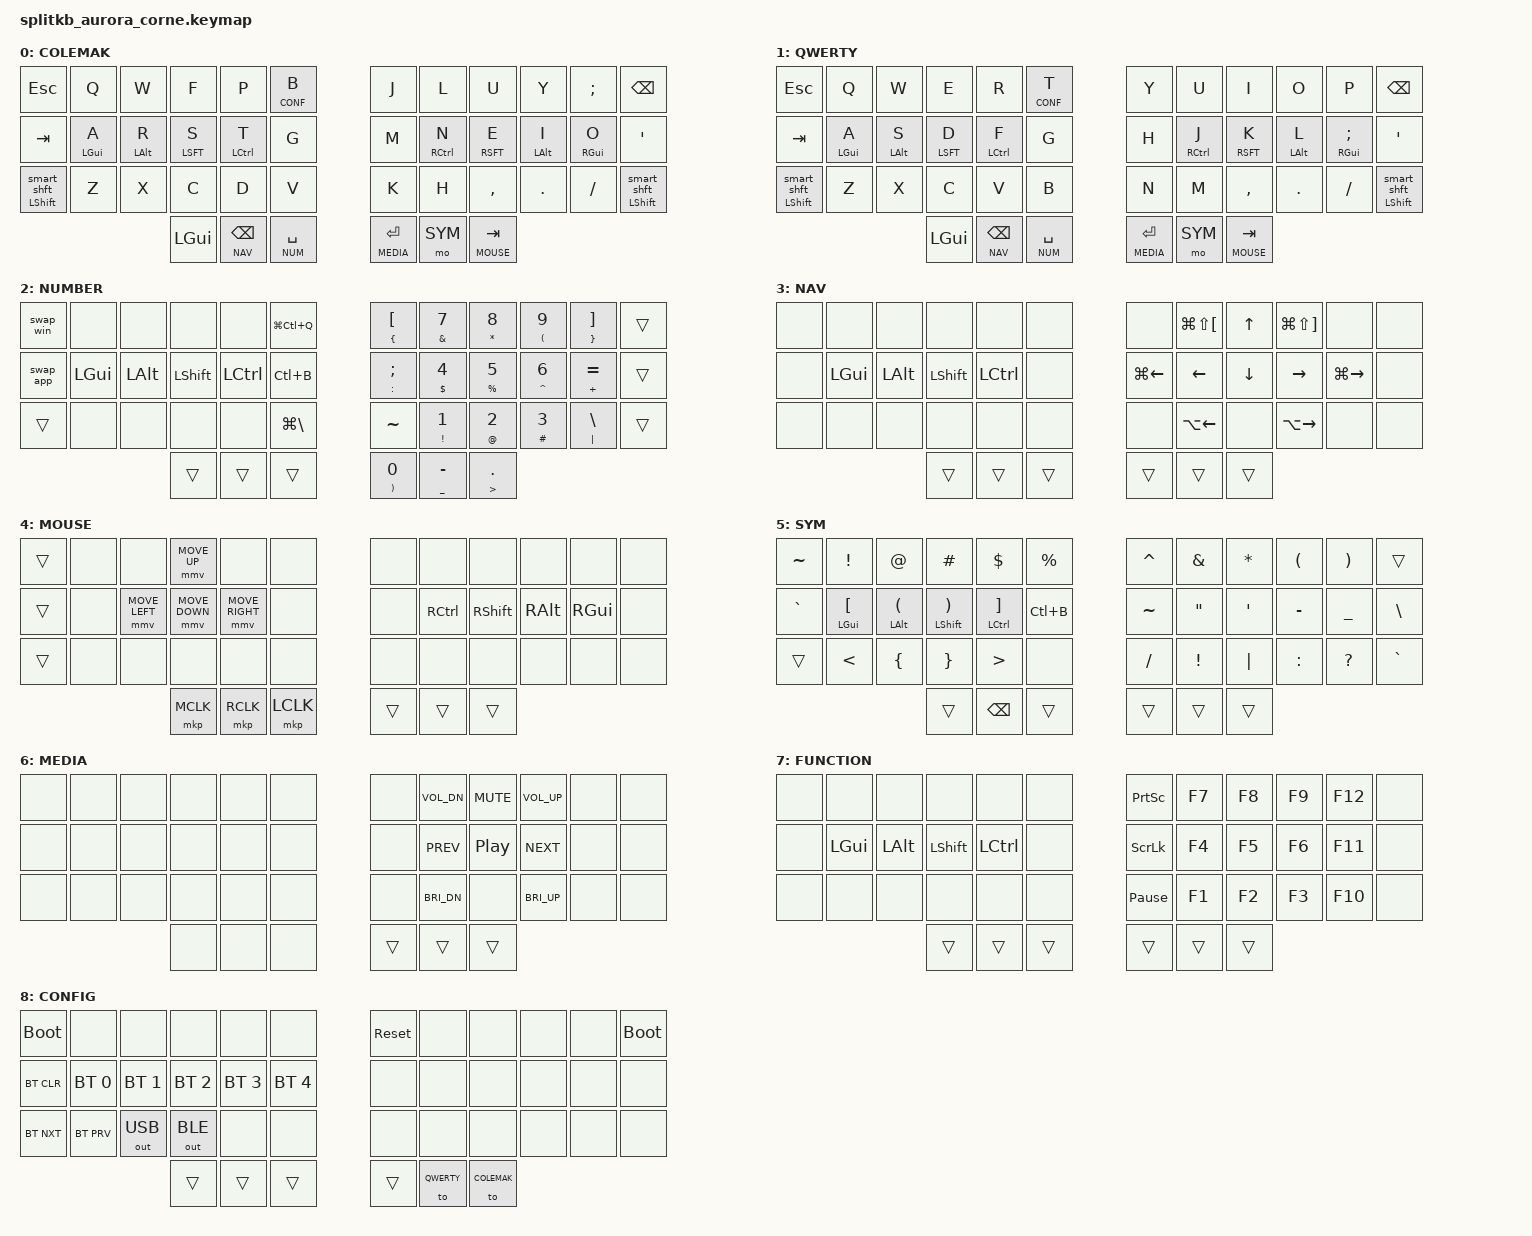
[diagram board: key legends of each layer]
/*
 * filbar Corne keymap, adapted from the QMK userspace
 * (filbar-scylla/keyboards/crkbd/rev4_1/standard/keymaps/filbar).
 *
 * SCOPE (first pass): layer layouts only. Intentionally NOT ported yet:
 *   - custom RGB layer indicators
 *
 * PORTED since first pass:
 *   - Smart Shift on the bottom-row Shift keys (hold = Shift, tap = one-shot
 *     Shift, double-tap = Caps Word). See `sshft` below.
 *   - Achordion-style bilateral home-row mods via positional hold-tap
 *     (hml/hmr: hold-trigger-key-positions + hold-trigger-on-release).
 *   - Swapper (SW_APP/SW_WIN) via the zmk-tri-state module (vendored at
 *     ../zmk-tri-state, registered through build.sh ZMK_EXTRA_MODULES). See the
 *     swap_app / swap_win behaviors below; bound on the NUMBER layer.
 *
 * LAYOUT NOTE: the QMK keymap targets a 3x6_3_ex2 board (2 extra keys per
 * half). This Aurora Corne is a plain 42-key 3x6_3, so those 4 middle keys are
 * dropped. Their casualties: PgUp/PgDn (were on NAV aux keys), mouse wheel
 * (MOUSE aux keys), and the L_FUNC/L_SPECIAL layer-access keys. To reach the
 * FUNCTION layer we instead use a conditional layer: hold NAV + SYM together.
 */

#include <behaviors.dtsi>
#include <dt-bindings/zmk/keys.h>
#include <dt-bindings/zmk/bt.h>
#include <dt-bindings/zmk/outputs.h>
#include <dt-bindings/zmk/pointing.h>

#define COLEMAK 0
#define QWERTY  1
#define NUM     2
#define NAV     3
#define MOUSE   4
#define SYM     5
#define MEDIA   6
#define FN      7
#define CONF    8

// Physical key positions per hand (see the position map above `combos`).
#define KEYS_L 0 1 2 3 4 5 12 13 14 15 16 17 24 25 26 27 28 29
#define KEYS_R 6 7 8 9 10 11 18 19 20 21 22 23 30 31 32 33 34 35
#define THUMBS 36 37 38 39 40 41

/ {
    behaviors {
        // Home-row mods: hold = modifier, tap = key. "Timeless" bilateral
        // setup (urob-style), the ZMK stand-in for QMK achordion:
        //   - hold-trigger-key-positions: a key only resolves to its modifier
        //     when the interrupting key is on the OPPOSITE hand (or a thumb).
        //     Same-hand rolls ("rst", "ars", "nei") always type letters. This
        //     replaces the old tap-preferred/200ms setup, which still misfired
        //     whenever a roll held a home-row key past tapping-term.
        //   - hold-trigger-on-release: the positional check waits until the
        //     interrupting key is released, so same-hand mod CHORDS (hold A+S
        //     = Cmd+Alt, then press a key on the other hand) still work.
        //   - require-prior-idle-ms: within 150ms of the previous key press
        //     (i.e. mid-word) the key is always a tap. Streak suppression.
        //   - tapping-term-ms: long, since the positional rule does the real
        //     work; it only matters for a lone hold (e.g. mod + mouse click).
        // NOTE: retro-tap intentionally NOT enabled. It would emit a stray
        // letter whenever a home-row mod is held for an EXTERNAL mouse click
        // (Cmd-click etc.) and released, because ZMK can't see the mouse event.
        hml: homerow_mods_left {
            compatible = "zmk,behavior-hold-tap";
            #binding-cells = <2>;
            flavor = "balanced";
            tapping-term-ms = <280>;
            quick-tap-ms = <175>;
            require-prior-idle-ms = <150>;
            hold-trigger-key-positions = <KEYS_R THUMBS>;
            hold-trigger-on-release;
            bindings = <&kp>, <&kp>;
        };
        hmr: homerow_mods_right {
            compatible = "zmk,behavior-hold-tap";
            #binding-cells = <2>;
            flavor = "balanced";
            tapping-term-ms = <280>;
            quick-tap-ms = <175>;
            require-prior-idle-ms = <150>;
            hold-trigger-key-positions = <KEYS_L THUMBS>;
            hold-trigger-on-release;
            bindings = <&kp>, <&kp>;
        };

        // Auto-shift: tap = key, hold-past-term = its shifted form. Used only
        // on the NUMBER layer's character keys (digits/brackets/etc.), invoked
        // as `&as <shifted> <base>`. "tap-preferred" => a roll never shifts;
        // only a deliberate hold past tapping-term does, so fast number entry
        // stays clean. (Not on the alpha layers by design.)
        as: auto_shift {
            compatible = "zmk,behavior-hold-tap";
            #binding-cells = <2>;
            flavor = "tap-preferred";
            tapping-term-ms = <175>;
            quick-tap-ms = <175>;
            bindings = <&kp>, <&kp>;
        };

        // Smart Shift, bound on the two bottom-row Shift keys (positions 24
        // and 35). Capitals via the home-row Shift mods need the mod held
        // across the whole letter press AND lose to require-prior-idle when
        // typed fast (e.g. right after a space), so ordinary capitals live
        // here instead:
        //   hold         -> plain Shift (hold-preferred: resolves the instant
        //                   another key is pressed, no tapping-term wait).
        //   tap          -> one-shot Shift: the next key is shifted, then it
        //                   drops. quick-release = it releases on the next
        //                   key's PRESS, so a fast roll shifts one key only.
        //                   ignore-modifiers = it survives through a held
        //                   home-row mod (tap Shift, hold Cmd, tap T).
        //   tap, tap     -> Caps Word. The second tap sees Shift active from
        //                   the first (sticky) tap, so the mod-morph picks
        //                   &caps_word instead of a second sticky Shift.
        //                   Ends on any key that isn't alpha/number or in
        //                   continue-list (so SOME_CONSTANT and backspace
        //                   corrections don't break it).
        // Either overlapping or not overlapping Shift with the letter yields
        // a capital, so there is no timing to get right.
        skq: sticky_key_quick_release {
            compatible = "zmk,behavior-sticky-key";
            #binding-cells = <1>;
            bindings = <&kp>;
            release-after-ms = <1000>;
            quick-release;
            ignore-modifiers;
        };
        caps_word_u: caps_word_underscore {
            compatible = "zmk,behavior-caps-word";
            #binding-cells = <0>;
            continue-list = <UNDERSCORE MINUS BACKSPACE DELETE>;
        };
        smart_shft: smart_shift {
            compatible = "zmk,behavior-mod-morph";
            #binding-cells = <0>;
            bindings = <&skq LSHFT>, <&caps_word_u>;
            mods = <(MOD_LSFT|MOD_RSFT)>;
        };
        sshft: smart_shift_hold_tap {   // invoked as `&sshft LSHFT 0`
            compatible = "zmk,behavior-hold-tap";
            #binding-cells = <2>;
            flavor = "hold-preferred";
            tapping-term-ms = <200>;
            quick-tap-ms = <175>;
            bindings = <&kp>, <&smart_shft>;
        };

        // Swapper (QMK SW_APP / SW_WIN port) via the tri-state module.
        // First tap holds LGUI and taps the cycle key; each repeat taps it
        // again to keep cycling; the held mod is released ("committed") on
        // interrupt. The interrupt is any key/layer NOT in the ignored lists.
        //
        // ignored-layers = <NUM>: while you HOLD space (= NUM layer) the
        // switcher stays open. RELEASING space drops you to the base layer
        // (a non-ignored layer change) -> fires the end binding -> Cmd up ->
        // selection commits. This reproduces the QMK "hold space, release to
        // pick" feel.
        // ignored-key-positions = <0 12 15 24 35>: keys that must NOT interrupt
        // the switcher. The check is purely position-based (raw physical key),
        // so transparent keys still count by their own position.
        //   0, 12  -> the two swapper keys, so re-tapping cycles
        //   15     -> NUM-layer home-row LSHFT
        //   24, 35 -> the dedicated bottom-row Shift keys (LSHFT/RSHFT). On NUM
        //             these are &trans -> base-layer Shift; ignoring them lets
        //             you HOLD Shift to reverse (Cmd+Shift+Tab / Cmd+Shift+`)
        //             without committing the selection.
        swap_app: swapper_app {            // Cmd+Tab  (switch applications)
            compatible = "zmk,behavior-tri-state";
            #binding-cells = <0>;
            bindings = <&kt LGUI>, <&kp TAB>, <&kt LGUI>;
            ignored-key-positions = <0 12 15 24 35>;
            ignored-layers = <NUM>;
        };
        swap_win: swapper_win {            // Cmd+`    (switch windows in app)
            compatible = "zmk,behavior-tri-state";
            #binding-cells = <0>;
            bindings = <&kt LGUI>, <&kp GRAVE>, <&kt LGUI>;
            ignored-key-positions = <0 12 15 24 35>;
            ignored-layers = <NUM>;
        };

    };

    conditional_layers {
        compatible = "zmk,conditional-layers";
        // NAV (left thumb) + SYM (right thumb) -> FUNCTION (F-keys).
        // Replaces the QMK L_FUNC aux key, which this board doesn't have.
        function_layer {
            if-layers = <NAV SYM>;
            then-layer = <FN>;
        };
    };

    /*
     * Combos. NOTE: ZMK combos are POSITION-based, not keycode-based like QMK.
     * Positions (42-key Corne):
     *   row0  0  1  2  3  4  5   |  6  7  8  9 10 11
     *   row1 12 13 14 15 16 17   | 18 19 20 21 22 23
     *   row2 24 25 26 27 28 29   | 30 31 32 33 34 35
     *   thmb       36 37 38      | 39 40 41
     */
    combos {
        compatible = "zmk,combos";

        // Q W F P  ->  macOS screenshot-to-clipboard (Cmd+Shift+Ctrl+4)
        combo_screenshot {
            timeout-ms = <50>;
            key-positions = <1 2 3 4>;
            bindings = <&kp LG(LS(LC(N4)))>;
            layers = <COLEMAK QWERTY>;
        };

        // Copy/paste live on the bottom row, NOT the home row: home-row
        // combos (were A+R+S / R+S+T) fired on fast rolls like "first" and
        // "stars", pasting mid-sentence. X/C/D rarely roll together in English.

        // X + C  ->  Cmd+C
        combo_copy {
            timeout-ms = <50>;
            require-prior-idle-ms = <150>;
            key-positions = <26 27>;
            bindings = <&kp LG(C)>;
            layers = <COLEMAK QWERTY>;
        };

        // C + D  ->  Cmd+V
        combo_paste {
            timeout-ms = <50>;
            require-prior-idle-ms = <150>;
            key-positions = <27 28>;
            bindings = <&kp LG(V)>;
            layers = <COLEMAK QWERTY>;
        };

        // Z + D  ->  Enter
        combo_enter {
            timeout-ms = <50>;
            require-prior-idle-ms = <100>;
            key-positions = <25 28>;
            bindings = <&kp RET>;
            layers = <COLEMAK QWERTY>;
        };
    };

    keymap {
        compatible = "zmk,keymap";

        colemak_layer {
            display-name = "COLEMAK";
// ------------------------------------------------------------------------------------------
// | ESC  |  Q  |  W  |  F  |  P  | B/CFG|   |  J  |  L  |  U  |  Y  |  ;  | BSPC |
// | TAB  | A/G | R/A | S/S | T/C |  G   |   |  M  | N/C | E/S | I/A | O/G |  '   |
// |SSHFT|  Z  |  X  |  C  |  D  |  V   |   |  K  |  H  |  ,  |  .  |  /  |SSHFT|
//                    | GUI |NAV/⌫|NUM/␣ |   |MED/⏎|SYM  |MOU/⇥|
            bindings = <
   &kp ESC    &kp Q       &kp W       &kp F       &kp P       &lt CONF B     &kp J     &kp L          &kp U       &kp Y       &kp SEMI    &kp BSPC
   &kp TAB    &hml LGUI A &hml LALT R &hml LSFT S &hml LCTRL T &kp G         &kp M     &hmr RCTRL N   &hmr RSFT E &hmr LALT I &hmr RGUI O &kp SQT
   &sshft LSHFT 0 &kp Z       &kp X       &kp C       &kp D       &kp V          &kp K     &kp H          &kp COMMA   &kp DOT     &kp FSLH    &sshft LSHFT 0
                                      &kp LGUI    &lt NAV BSPC &lt NUM SPACE  &lt MEDIA RET &mo SYM    &lt MOUSE TAB
            >;
        };

        qwerty_layer {
            display-name = "QWERTY";
// ------------------------------------------------------------------------------------------
// | ESC  |  Q  |  W  |  E  |  R  | T/CFG|   |  Y  |  U  |  I  |  O  |  P  | BSPC |
// | TAB  | A/G | S/A | D/S | F/C |  G   |   |  H  | J/C | K/S | L/A | ;/G |  '   |
// |SSHFT|  Z  |  X  |  C  |  V  |  B   |   |  N  |  M  |  ,  |  .  |  /  |SSHFT|
            bindings = <
   &kp ESC    &kp Q       &kp W       &kp E       &kp R       &lt CONF T     &kp Y     &kp U          &kp I       &kp O       &kp P        &kp BSPC
   &kp TAB    &hml LGUI A &hml LALT S &hml LSFT D &hml LCTRL F &kp G         &kp H     &hmr RCTRL J   &hmr RSFT K &hmr LALT L &hmr RGUI SEMI &kp SQT
   &sshft LSHFT 0 &kp Z       &kp X       &kp C       &kp V       &kp B          &kp N     &kp M          &kp COMMA   &kp DOT     &kp FSLH     &sshft LSHFT 0
                                      &kp LGUI    &lt NAV BSPC &lt NUM SPACE  &lt MEDIA RET &mo SYM    &lt MOUSE TAB
            >;
        };

        number_layer {
            display-name = "NUMBER";
// Auto-shift on the right cluster: tap = number/symbol, HOLD = shifted form.
// Left inner column: C-B = tmux prefix (prefix + window number without leaving
// the layer); G-\ = Cmd+\ as one key (otherwise a three-finger chord).
// ------------------------------------------------------------------------------------------
// |SW_WIN|     |     |     |     |LOGOUT|   | [/{ | 7/& | 8/* | 9/( | ]/} | BSPC |
// |SW_APP| GUI | ALT | SFT | CTL | C-B  |   | ;/: | 4/$ | 5/% | 6/^ | =/+ |  '   |
// |      |     |     |     |     | G-\  |   |  ~  | 1/! | 2/@ | 3/# | \/| | SHFT |
//                    |     |     |      |   | 0/) | -/_ | ./> |
            bindings = <
   &swap_win     &none    &none    &none    &none     &kp LG(LC(Q))   &as LBRC LBKT  &as AMPS N7  &as ASTRK N8 &as LPAR N9  &as RBRC RBKT &trans
   &swap_app     &kp LGUI &kp LALT &kp LSHFT &kp LCTRL &kp LC(B)       &as COLON SEMI &as DLLR N4  &as PRCNT N5 &as CARET N6 &as PLUS EQUAL &trans
   &trans        &none    &none    &none    &none     &kp LG(BSLH)    &kp TILDE      &as EXCL N1  &as AT N2    &as HASH N3  &as PIPE BSLH &trans
                                   &trans   &trans    &trans          &as RPAR N0    &as UNDER MINUS &as GT DOT
            >;
        };

        nav_layer {
            display-name = "NAV";
// ------------------------------------------------------------------------------------------
// |      |     |     |     |     |      |   |     |TAB-L| UP  |TAB-R|     |      |
// |      | GUI | ALT | SFT | CTL |      |   |LN-BG|LEFT |DOWN |RIGHT|LN-EN|      |
// |      |     |     |     |     |      |   |     |WRD-L|     |WRD-R|     |      |
            bindings = <
   &none   &none    &none    &none    &none     &none      &none        &kp LG(LS(LBKT)) &kp UP   &kp LG(LS(RBKT)) &none        &none
   &none   &kp LGUI &kp LALT &kp LSHFT &kp LCTRL &none     &kp LG(LEFT) &kp LEFT         &kp DOWN &kp RIGHT        &kp LG(RIGHT) &none
   &none   &none    &none    &none    &none     &none      &none        &kp LA(LEFT)     &none    &kp LA(RIGHT)    &none        &none
                                      &trans   &trans     &trans        &trans   &trans   &trans
            >;
        };

        mouse_layer {
            display-name = "MOUSE";
// ------------------------------------------------------------------------------------------
// |      |     |     | M-UP|     |      |   |     |     |     |     |     |      |
// |      |     |M-LFT|M-DWN|M-RGT|      |   |     | CTL | SFT | ALT | GUI |      |
// |      |     |     |     |     |      |   |     |     |     |     |     |      |
//                    | MMB | RMB | LMB  |   |     |     |     |
            bindings = <
   &trans  &none    &none        &mmv MOVE_UP   &none          &none      &none  &none    &none    &none    &none    &none
   &trans  &none    &mmv MOVE_LEFT &mmv MOVE_DOWN &mmv MOVE_RIGHT &none     &none  &kp RCTRL &kp RSHFT &kp RALT &kp RGUI &none
   &trans  &none    &none        &none          &none          &none      &none  &none    &none    &none    &none    &none
                                 &mkp MCLK      &mkp RCLK      &mkp LCLK   &trans &trans   &trans
            >;
        };

        sym_layer {
            display-name = "SYM";
// ------------------------------------------------------------------------------------------
// |  ~  |  !  |  @  |  #  |  $  |  %  |   |  ^  |  &  |  *  |  (  |  )  | BSPC |
// |  `  | [/G | (/A | )/S | ]/C |C-B |   |  ~  |  "  |  '  |  -  |  _  |  \   |
// |     |  <  |  {  |  }  |  >  |    |   |  /  |  !  | "|" |  :  |  ?  |  `   |
            bindings = <
   &kp TILDE &kp EXCL     &kp AT       &kp HASH     &kp DLLR     &kp PRCNT   &kp CARET &kp AMPS  &kp ASTRK &kp LPAR  &kp RPAR  &trans
   &kp GRAVE &mt LGUI LBKT &mt LALT LPAR &mt LSHFT RPAR &mt LCTRL RBKT &kp LC(B) &kp TILDE &kp DQT   &kp SQT   &kp MINUS &kp UNDER &kp BSLH
   &trans    &kp LT       &kp LBRC     &kp RBRC     &kp GT       &none       &kp FSLH  &kp EXCL  &kp PIPE  &kp COLON &kp QMARK &kp GRAVE
                                       &trans       &kp BSPC     &trans      &trans    &trans    &trans
            >;
        };

        media_layer {
            display-name = "MEDIA";
// ------------------------------------------------------------------------------------------
// |      |     |     |     |     |      |   |     | VOL-|MUTE | VOL+|     |      |
// |      |     |     |     |     |      |   |     | PREV| P/P | NEXT|     |      |
// |      |     |     |     |     |      |   |     | BRI-|     | BRI+|     |      |
            bindings = <
   &none   &none    &none    &none    &none    &none      &none   &kp C_VOL_DN &kp C_MUTE &kp C_VOL_UP &none   &none
   &none   &none    &none    &none    &none    &none      &none   &kp C_PREV   &kp C_PP   &kp C_NEXT   &none   &none
   &none   &none    &none    &none    &none    &none      &none   &kp C_BRI_DN &none      &kp C_BRI_UP &none   &none
                                      &none    &none    &none     &trans  &trans   &trans
            >;
        };

        function_layer {
            display-name = "FUNCTION";
// ------------------------------------------------------------------------------------------
// |      |     |     |     |     |      |   |PSCR | F7  | F8  | F9  | F12 |      |
// |      | GUI | ALT | SFT | CTL |      |   |SCRL | F4  | F5  | F6  | F11 |      |
// |      |     |     |     |     |      |   |PAUS | F1  | F2  | F3  | F10 |      |
            bindings = <
   &none   &none    &none    &none    &none     &none      &kp PSCRN       &kp F7 &kp F8 &kp F9 &kp F12 &none
   &none   &kp LGUI &kp LALT &kp LSHFT &kp LCTRL &none     &kp SLCK        &kp F4 &kp F5 &kp F6 &kp F11 &none
   &none   &none    &none    &none    &none     &none      &kp PAUSE_BREAK &kp F1 &kp F2 &kp F3 &kp F10 &none
                                      &trans   &trans     &trans          &trans &trans &trans
            >;
        };

        conf_layer {
            display-name = "CONFIG";
// ------------------------------------------------------------------------------------------
// | BOOT |     |     |     |     |      |   |RESET|     |     |     |     | BOOT |
// |BT CLR| BT0 | BT1 | BT2 | BT3 | BT4  |   |     |     |     |     |     |      |
// |BT NXT|BT PV| USB | BLE |     |      |   |     |     |     |     |     |      |
//                    |     |     |      |   |     |QWRTY|CLMAK|
// BOOT (left) resets the LEFT half into UF2 mode; BOOT (right) the RIGHT half.
            bindings = <
   &bootloader &none        &none        &none        &none        &none        &sys_reset &none &none &none &none &bootloader
   &bt BT_CLR  &bt BT_SEL 0 &bt BT_SEL 1 &bt BT_SEL 2 &bt BT_SEL 3 &bt BT_SEL 4 &none      &none &none &none &none &none
   &bt BT_NXT  &bt BT_PRV   &out OUT_USB &out OUT_BLE  &none        &none        &none      &none &none &none &none &none
                                         &trans       &trans       &trans  &trans     &to QWERTY &to COLEMAK
            >;
        };
    };
};
